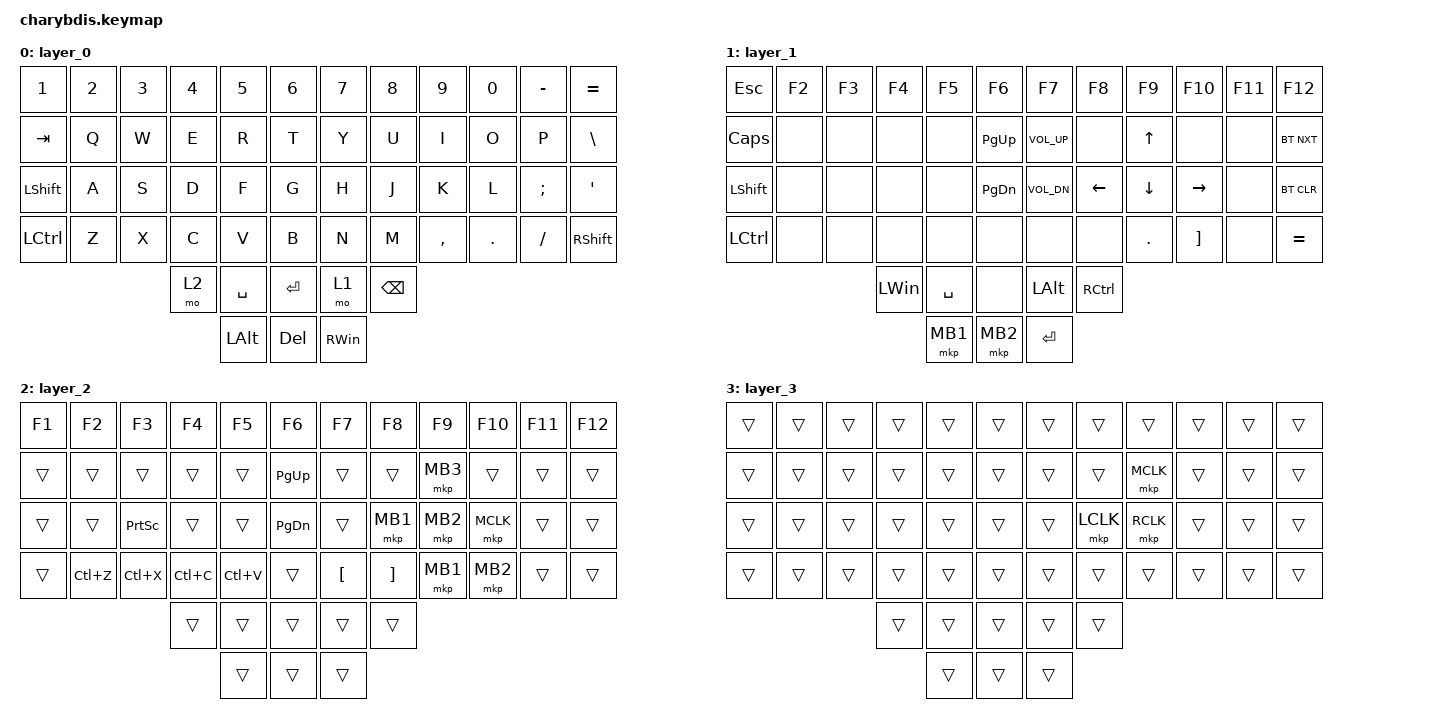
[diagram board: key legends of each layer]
#include <dt-bindings/zmk/mouse.h>
#include <behaviors.dtsi>
#include <dt-bindings/zmk/bt.h>
#include <dt-bindings/zmk/keys.h>
#include <dt-bindings/zmk/pointing.h>

&lt {
    tapping-term-ms = <200>;
    flavor = "balanced";
    quick-tap-ms = <150>;
};

/ {
    keymap {
        compatible = "zmk,keymap";

        layer_0 {
            bindings = <
&kp NUMBER_1      &kp N2  &kp N3  &kp N4  &kp N5        &kp N6        &kp N7         &kp N8         &kp N9     &kp N0      &kp MINUS  &kp EQUAL
&kp TAB           &kp Q   &kp W   &kp E   &kp R         &kp T         &kp Y          &kp U          &kp I      &kp O       &kp P      &kp BSLH
&kp LEFT_SHIFT    &kp A   &kp S   &kp D   &kp F         &kp G         &kp H          &kp J          &kp K      &kp L       &kp SEMI   &kp SQT
&kp LEFT_CONTROL  &kp Z   &kp X   &kp C   &kp V         &kp B         &kp N          &kp M          &kp COMMA  &kp PERIOD  &kp FSLH   &kp RIGHT_SHIFT
                                  &mo 2   &kp SPACE     &kp ENTER     &mo 1          &kp BACKSPACE
                                          &kp LEFT_ALT  &kp DELETE    &kp RIGHT_WIN
            >;

            trackball-bindings = <&tmv_coarse>;
        };

        layer_1 {
            bindings = <
&kp ESCAPE      &kp F2  &kp F3  &kp F4        &kp F5     &kp F6           &kp F7           &kp F8             &kp F9      &kp F10            &kp F11  &kp F12
&kp CAPS        &none   &none   &none         &none      &kp PAGE_UP      &kp C_VOLUME_UP  &none              &kp UP      &none              &none    &bt BT_NXT
&kp LEFT_SHIFT  &none   &none   &none         &none      &kp PAGE_DOWN    &kp C_VOL_DN     &kp LEFT           &kp DOWN    &kp RIGHT          &none    &bt BT_CLR
&kp LCTRL       &none   &none   &none         &none      &none            &none            &none              &kp PERIOD  &kp RIGHT_BRACKET  &none    &kp EQUAL
                                &kp LEFT_WIN  &kp SPACE  &none            &kp LALT         &kp RIGHT_CONTROL
                                              &mkp MB1   &mkp MB2         &kp ENTER
            >;

            trackball-bindings = <&tsl>;
        };

        layer_2 {
            bindings = <
&kp F1  &kp F2     &kp F3           &kp F4     &kp F5     &kp F6           &kp F7            &kp F8             &kp F9    &kp F10    &kp F11  &kp F12
&trans  &trans     &trans           &trans     &trans     &kp PAGE_UP      &trans            &trans             &mkp MB3  &trans     &trans   &trans
&trans  &trans     &kp PRINTSCREEN  &trans     &trans     &kp PAGE_DOWN    &trans            &mkp MB1           &mkp MB2  &mkp MCLK  &trans   &trans
&trans  &kp LC(Z)  &kp LC(X)        &kp LC(C)  &kp LC(V)  &trans           &kp LEFT_BRACKET  &kp RIGHT_BRACKET  &mkp MB1  &mkp MB2   &trans   &trans
                                    &trans     &trans     &trans           &trans            &trans
                                               &trans     &trans           &trans
            >;
        };

        layer_3 {
            bindings = <
&trans  &trans  &trans  &trans  &trans  &trans    &trans  &trans     &trans     &trans  &trans  &trans
&trans  &trans  &trans  &trans  &trans  &trans    &trans  &trans     &mkp MCLK  &trans  &trans  &trans
&trans  &trans  &trans  &trans  &trans  &trans    &trans  &mkp LCLK  &mkp RCLK  &trans  &trans  &trans
&trans  &trans  &trans  &trans  &trans  &trans    &trans  &trans     &trans     &trans  &trans  &trans
                        &trans  &trans  &trans    &trans  &trans
                                &trans  &trans    &trans
            >;
        };

        /* layer_2 {
            bindings = <
&none  &none   &none    &none   &none         &none         &kp N1         &none         &none     &none  &none   &to 0
&none  &none   &none    &none   &none         &none         &none         &none          &rgb_ug RGB_BRD &rgb_ug RGB_BRI  &rgb_ug RGB_EFF   &rgb_ug RGB_TOG
&none  &none   &none    &none   &none         &none         &none         &mkp LCLK     &mkp RCLK  &none  &none   &none
&none  &none   &none    &none   &bt BT_NXT  &bt BT_CLR    &none         &none         &none     &none  &none   &none
                                   &none         &none         &none         &none         &none
                                                 &none         &none         &none
            >;
          trackball-bindings = <&tsl>;
            
        };

       Mouse {
            bindings = <
&none        &none         &none         &none         &none      &none         &none       &none      &none         &none         &none         &none
&none        &bt BT_SEL 0  &bt BT_SEL 1  &bt BT_SEL 3  &none      &bt BT_CLR    &bt BT_CLR  &none      &bt BT_SEL 2  &bt BT_SEL 1  &bt BT_SEL 0  &none
&none        &trans        &trans        &mkp MCLK     &trans     &none         &none       &trans     &mkp MCLK     &trans        &trans        &none
&bootloader  &trans        &mkp RCLK     &mo 4         &mkp LCLK  &mo 5         &mo 5       &mkp LCLK  &mo 4         &mkp RCLK     &trans        &bootloader
                                         &mo 5         &mkp LCLK  &mkp RCLK     &mkp RCLK   &mkp LCLK
                                                       &none      &trans        &trans
            >;

            
        };

        layer_4 {
            bindings = <
&trans  &trans  &trans     &trans     &trans     &trans       &trans     &trans     &trans     &trans     &trans  &trans
&trans  &trans  &trans     &trans     &trans     &trans       &trans     &trans     &trans     &trans     &trans  &trans
&trans  &trans  &trans     &mkp MCLK  &trans     &trans       &trans     &trans     &mkp MCLK  &trans     &trans  &trans
&trans  &trans  &mkp RCLK  &trans     &mkp LCLK  &trans       &trans     &mkp LCLK  &trans     &mkp RCLK  &trans  &trans
                           &trans     &mkp LCLK  &mkp RCLK    &mkp RCLK  &mkp LCLK
                                      &trans     &trans       &trans
            >;
                
                
                trackball-bindings = <&tsl>;
        };

        layer_5 {
            bindings = <
&trans  &trans  &trans     &trans     &trans     &trans       &trans     &trans     &trans     &trans     &trans  &trans
&trans  &trans  &trans     &trans     &trans     &trans       &trans     &trans     &trans     &trans     &trans  &trans
&trans  &trans  &trans     &mkp MCLK  &trans     &trans       &trans     &trans     &mkp MCLK  &trans     &trans  &trans
&trans  &trans  &mkp RCLK  &trans     &mkp LCLK  &trans       &trans     &mkp LCLK  &trans     &mkp RCLK  &trans  &trans
                           &trans     &mkp LCLK  &mkp RCLK    &mkp RCLK  &mkp LCLK
                                      &trans     &trans       &trans
            >;
                trackball-bindings = <&tmv_fine>;
                
        };*/
    };
};
